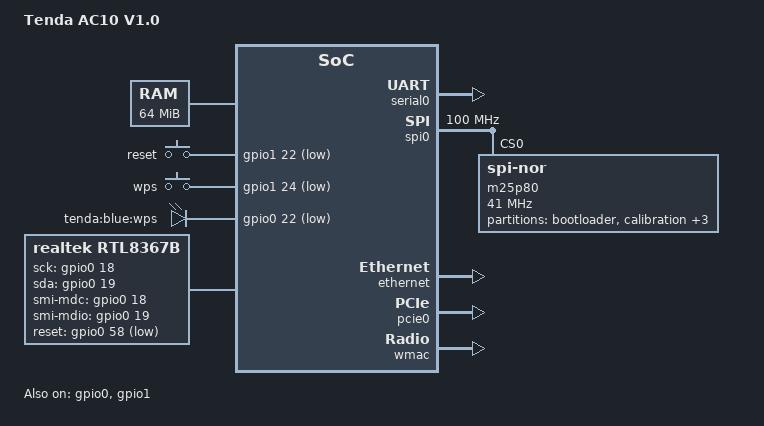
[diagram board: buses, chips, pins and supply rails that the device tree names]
// SPDX-License-Identifier: GPL-2.0-or-later
/*
 * Device Tree Source for Tenda AC10 V1.0 Router (Hybrid OpenWrt 4.14 / RTL8197FS)
 *
 * Target: Realtek RTL8197FS (MIPS 24KEc @ 1000 MHz, 64 MB DDR2 DRAM, 8 MB SPI NOR Flash)
 * Switch: Realtek RTL8367RB-VB Gigabit Switch (SMI on GPIO 18/19, Reset GPIO 58, CPU RGMII Port 6)
 * Wireless: Integrated RTL8197FS (2.4 GHz 2x2 b/g/n WMAC @ 0x18640000) + RTL8822BE (5 GHz 2x2 ac Wave 2, PCIe RC0)
 * RF Front-Ends: Skyworth RFE Type 6 (5 GHz External PA/LNA) + Skyworth RFE Type 5 (2.4 GHz)
 */

/dts-v1/;

#include <dt-bindings/gpio/gpio.h>
#include <dt-bindings/input/input.h>

/ {
	#address-cells = <1>;
	#size-cells = <1>;
	compatible = "tenda,ac10-v1", "realtek,rtl8197f-soc";
	model = "Tenda AC10 V1.0";

	memory {
		device_type = "memory";
		reg = <0x0 0x4000000>; /* 64 MB DDR2 DRAM */
	};

	chosen {
		bootargs = "console=ttyS0,38400";
	};

	cpus {
		cpu@0 {
			compatible = "mips,mips24KEc";
		};
	};

	cpuintc: cpuintc {
		#address-cells = <0>;
		#interrupt-cells = <1>;
		interrupt-controller;
		compatible = "mti,cpu-interrupt-controller";
	};

	soc {
		compatible = "simple-bus";
		ranges = <0x0 0x18000000 0x10000>;

		#address-cells = <1>;
		#size-cells = <1>;

		sysc: system-controller@0 {
			compatible = "realtek,rtl819x-sysc";
			reg = <0x0 0x1000>;
		};

		memc: memory-controller@1000 {
			compatible = "realtek,rtl819x-memc";
			reg = <0x1000 0x100>;
		};

		intc: intc@3000 {
			compatible = "realtek,rtl819x-intc";
			reg = <0x3000 0x100>;

			interrupt-controller;
			#interrupt-cells = <1>;

			interrupt-parent = <&cpuintc>;
			interrupts = <2>;
		};

		gpio0: gpio-controller@3500 {
			compatible = "realtek,rtl8197f-gpio";
			reg = <0x3500 0x1c>;
			gpio-controller;
			#gpio-cells = <2>;
			status = "okay";
		};

		gpio1: gpio-controller@351C {
			compatible = "realtek,rtl8197f-gpio";
			reg = <0x351C 0x1c>;
			gpio-controller;
			#gpio-cells = <2>;
			status = "okay";
		};
	};

	serial0: serial@18147000 {
		compatible = "realtek,rtl8197f-uart", "snps,dw-apb-uart";
		reg = <0x18147000 0x100>;

		interrupt-parent = <&intc>;
		interrupts = <9>;

		reg-io-width = <4>;
		reg-shift = <2>;
		clock-frequency = <100000000>;
	};

	spi0: spi@18143000 {
		compatible = "realtek,sheipa-spi";
		reg = <0x18143000 0x1000
		       0x10000000 0x2000000>;

		#address-cells = <1>;
		#size-cells = <0>;

		clock-frequency = <100000000>;
		status = "okay";

		m25p80@0 {
			#address-cells = <1>;
			#size-cells = <1>;
			compatible = "jedec,spi-nor";
			reg = <0>;
			spi-max-frequency = <41000000>;

			/* Realtek Booter v3.4.11B.9 */
			partition@0 {
				label = "bootloader";
				reg = <0x000000 0x020000>; /* 128 KB */
				read-only;
			};

			/* Factory RF calibration & board parameters (ASCII key-value) */
			partition@20000 {
				label = "calibration";
				reg = <0x020000 0x010000>; /* 64 KB */
				read-only;
			};

			/* Kernel + RootFS container (burn target at 0x30000 with cs6c/cr6c header) */
			partition@30000 {
				label = "firmware";
				reg = <0x030000 0x7b0000>; /* 7872 KB = 7.6875 MB */
			};

			/* Tenda CFM Primary NVRAM Configuration */
			partition@7e0000 {
				label = "cfm_primary";
				reg = <0x7e0000 0x010000>; /* 64 KB */
				read-only;
			};

			/* Tenda CFM Backup NVRAM Configuration */
			partition@7f0000 {
				label = "cfm_backup";
				reg = <0x7f0000 0x010000>; /* 64 KB */
				read-only;
			};
		};
	};

	ethernet: ethernet@18010000 {
		compatible = "realtek,rtl8197f-eth", "realtek,rtl819x-eth";
		reg = <0x18010000 0x100>;
		interrupt-parent = <&cpuintc>;
		interrupts = <4>;
	};

	pcie_clk: pcie_clk {
		#clock-cells = <0>;
		compatible = "fixed-clock";
		clock-frequency = <25000000>;
	};

	pcie0: pcie-controller@18b00000 {
		compatible = "realtek,rtl8196b-pci";
		#address-cells = <3>;
		#size-cells = <2>;
		bus-range = <0 255>;
		reg = <0x18b00000 0x1000>,
		      <0x18b01000 0x1000>,
		      <0x18b10000 0x1000>,
		      <0x18b11000 0x1000>;
		reg-names = "rc_cfg_base", "rc_ext_base", "dev_cfg0_base", "dev_cfg1_base";
		ranges = <0x02000000 0 0x00000000 0x19000000 0 0x01000000
			  0x01000000 0 0x00000000 0x18c00000 0 0x00200000>;
		interrupt-parent = <&cpuintc>;
		interrupts = <5>;
		clocks = <&pcie_clk>;
		status = "okay";
	};

	pcie1: pcie-controller@18b20000 {
		compatible = "realtek,rtl8196b-pci";
		#address-cells = <3>;
		#size-cells = <2>;
		bus-range = <0 255>;
		reg = <0x18b20000 0x1000>,
		      <0x18b21000 0x1000>,
		      <0x18b30000 0x1000>,
		      <0x18b31000 0x1000>;
		reg-names = "rc_cfg_base", "rc_ext_base", "dev_cfg0_base", "dev_cfg1_base";
		ranges = <0x02000000 0 0x00000000 0x1a000000 0 0x01000000
			  0x01000000 0 0x00000000 0x18e00000 0 0x00200000>;
		interrupt-parent = <&cpuintc>;
		interrupts = <6>;
		clocks = <&pcie_clk>;
		status = "disabled";
	};

	wmac: wmac@18640000 {
		compatible = "realtek,rtl8197f-wmac";
		reg = <0x18640000 0x10000>;
		interrupt-parent = <&cpuintc>;
		interrupts = <6>;
		clocks = <&pcie_clk>;
		status = "okay";
	};

	gpio-keys-polled {
		compatible = "gpio-keys-polled";
		#address-cells = <1>;
		#size-cells = <0>;
		poll-interval = <20>;

		reset {
			label = "reset";
			gpios = <&gpio1 22 GPIO_ACTIVE_LOW>; /* vendor GPIO 54 */
			linux,code = <KEY_RESTART>;
		};

		wps {
			label = "wps";
			gpios = <&gpio1 24 GPIO_ACTIVE_LOW>; /* vendor GPIO 56 */
			linux,code = <KEY_WPS_BUTTON>;
		};
	};

	gpio-leds {
		compatible = "gpio-leds";

		wps {
			label = "tenda:blue:wps";
			gpios = <&gpio0 22 GPIO_ACTIVE_LOW>;
		};
	};

	/*
	 * Realtek RTL8367RB-VB External 5-Port Gigabit Switch
	 *   MDC  (Clock) : GPIO 18 (gpio0 pin 18)
	 *   MDIO (Data)  : GPIO 19 (gpio0 pin 19)
	 *   RST  (Reset) : GPIO 58 (gpio1 pin 26, active-low)
	 *   CPU RGMII    : Port 6 (EXT_PORT_1, 1000M full-duplex, txDelay=0, rxDelay=2)
	 *   Physical Map : Port 3 = WAN (VID 1), Ports 2/1/0 = LAN1/LAN2/LAN3 (VID 2)
	 */
	rtl8367b {
		compatible = "realtek,rtl8367b";
		cpu_port = <6>;
		realtek,cpu-port = <6>;
		realtek,extif1 = <1 0 1 1 1 1 1 1 2>;
		gpio-sck = <&gpio0 18 GPIO_ACTIVE_HIGH>;
		gpio-sda = <&gpio0 19 GPIO_ACTIVE_HIGH>;
		realtek,smi-mdc-gpio = <&gpio0 18 GPIO_ACTIVE_HIGH>;
		realtek,smi-mdio-gpio = <&gpio0 19 GPIO_ACTIVE_HIGH>;
		realtek,reset-gpio = <&gpio0 58 GPIO_ACTIVE_LOW>;
		realtek,ext-rgmii-delay = <0x02>;
	};
};
